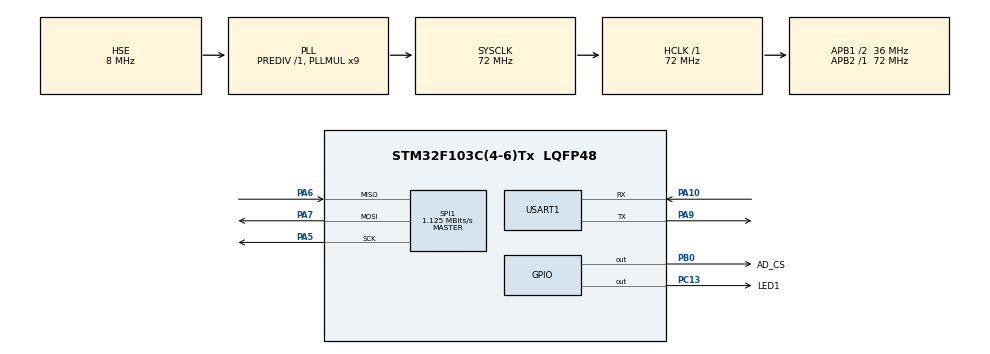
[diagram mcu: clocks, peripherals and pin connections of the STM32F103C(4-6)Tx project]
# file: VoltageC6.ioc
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Mcu.Family=STM32F1
Mcu.Name=STM32F103C(4-6)Tx
Mcu.Package=LQFP48
NVIC.PriorityGroup=NVIC_PRIORITYGROUP_4
NVIC.TIM1_UP_IRQn=true\:0\:0\:false\:false\:true\:true\:true
NVIC.TIM3_IRQn=true\:0\:0\:false\:false\:true\:false\:true
NVIC.TimeBase=TIM3_IRQn
NVIC.TimeBaseIP=TIM3
NVIC.USART1_IRQn=true\:0\:0\:false\:false\:true\:true\:true
PA10.Mode=Asynchronous
PA10.Signal=USART1_RX
PA13.Mode=Serial_Wire
PA13.Signal=SYS_JTMS-SWDIO
PA14.Mode=Serial_Wire
PA14.Signal=SYS_JTCK-SWCLK
PA5.Mode=Full_Duplex_Master
PA5.Signal=SPI1_SCK
PA6.Mode=Full_Duplex_Master
PA6.Signal=SPI1_MISO
PA7.Mode=Full_Duplex_Master
PA7.Signal=SPI1_MOSI
PA9.Mode=Asynchronous
PA9.Signal=USART1_TX
PB0.GPIO_Label=AD_CS
PB0.GPIO_PuPd=GPIO_PULLUP
PB0.Signal=GPIO_Output
PC13-TAMPER-RTC.GPIO_Label=LED1
PC13-TAMPER-RTC.GPIO_PuPd=GPIO_PULLUP
PC13-TAMPER-RTC.Signal=GPIO_Output
PC14-OSC32_IN.Mode=LSE-External-Oscillator
PC14-OSC32_IN.Signal=RCC_OSC32_IN
PC15-OSC32_OUT.Mode=LSE-External-Oscillator
PC15-OSC32_OUT.Signal=RCC_OSC32_OUT
PD0-OSC_IN.Mode=HSE-External-Oscillator
PD0-OSC_IN.Signal=RCC_OSC_IN
PD1-OSC_OUT.Mode=HSE-External-Oscillator
PD1-OSC_OUT.Signal=RCC_OSC_OUT
ProjectManager.HeapSize=0x200
ProjectManager.StackSize=0x400
ProjectManager.TargetToolchain=MDK-ARM V5.27
RCC.AHBFreq_Value=72000000
RCC.APB1CLKDivider=RCC_HCLK_DIV2
RCC.APB1Freq_Value=36000000
RCC.APB1TimFreq_Value=72000000
RCC.APB2Freq_Value=72000000
RCC.APB2TimFreq_Value=72000000
RCC.HCLKFreq_Value=72000000
RCC.PLLMUL=RCC_PLL_MUL9
RCC.PLLSourceVirtual=RCC_PLLSOURCE_HSE
RCC.SYSCLKFreq_VALUE=72000000
RCC.SYSCLKSource=RCC_SYSCLKSOURCE_PLLCLK
RCC.USBFreq_Value=72000000
SPI1.BaudRatePrescaler=SPI_BAUDRATEPRESCALER_64
SPI1.CLKPhase=SPI_PHASE_2EDGE
SPI1.CLKPolarity=SPI_POLARITY_HIGH
SPI1.CalculateBaudRate=1.125 MBits/s
SPI1.Direction=SPI_DIRECTION_2LINES
SPI1.Mode=SPI_MODE_MASTER
SPI1.VirtualType=VM_MASTER
USART1.VirtualMode=VM_ASYNC
VP_SYS_VS_tim3.Mode=TIM3
VP_TIM1_VS_ClockSourceINT.Mode=Internal
board=custom

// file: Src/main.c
/* USER CODE BEGIN Header */
/**
  ******************************************************************************
  * @file           : main.c
  * @brief          : Main program body
  ******************************************************************************
  * @attention
  *
  * <h2><center>&copy; Copyright (c) 2024 STMicroelectronics.
  * All rights reserved.</center></h2>
  *
  * This software component is licensed by ST under BSD 3-Clause license,
  * the "License"; You may not use this file except in compliance with the
  * License. You may obtain a copy of the License at:
  *                        opensource.org/licenses/BSD-3-Clause
  *
  ******************************************************************************
  */
  /* USER CODE END Header */
  /* Includes ------------------------------------------------------------------*/
#include "main.h"
#include "spi.h"
#include "tim.h"
#include "usart.h"
#include "gpio.h"

/* USER CODE BEGIN Includes */
#include "stdio.h"
#include "My_AD7172.h"
#include "ad717x_Frame.h"
/* USER CODE END Includes */

/* USER CODE BEGIN PD */
#define USE_CALIB 1 //TODO 1:使用校准 2:使用软件校准 0:不使用校准
/* USER CODE END PD */

/* USER CODE BEGIN PV */
extern AD7172_Struct gAd7172;
/* USER CODE END PV */

void SystemClock_Config(void);

/* USER CODE BEGIN 0 */
/// @brief 重定向printf函数
int fputc(int ch, FILE* f) {
  uint8_t temp[1] = { ch };
  HAL_UART_Transmit(&huart1, temp, 1, 0xffff);
  return ch;
}
/// @brief 重定向scanf函数
/// @param f
/// @return
int fgetc(FILE* f)
{
  uint8_t ch = 0;
  HAL_UART_Receive(&huart1, &ch, 1, 0xffff);
  return ch;
}
/// @brief 实现输出二进�?
/// @param num 待转换的�?
void print_binary(int num) {
  //将num转换为二进制通过pritnf输出，以循环实现
  while (num != 0) {
    printf("%d", num % 2);
    num /= 2;
  }
}
/* USER CODE END 0 */

int main(void)
{

  /* MCU Configuration--------------------------------------------------------*/

  /* Reset of all peripherals, Initializes the Flash interface and the Systick. */
  HAL_Init();

  /* Configure the system clock */
  SystemClock_Config();

  /* Initialize all configured peripherals */
  MX_GPIO_Init();
  MX_SPI1_Init();
  MX_TIM1_Init();
  MX_USART1_UART_Init();
  /* USER CODE BEGIN 2 */
  HAL_GPIO_WritePin(LED1_GPIO_Port, LED1_Pin, LED_OFF);
  AD7172ParmInit();
  /* USER CODE END 2 */

  /* Infinite loop */
  /* USER CODE BEGIN WHILE */
#if USE_CALIB == 1  //必须在调试模式下分步运行
  //经过测试发现系统增益校准是必须的，其他增益可选
  HAL_Delay(2);
  AD7172_Calib(SYS_OFFSET_CALIB);
  HAL_Delay(2);
  AD7172_Calib(SYS_GAIN_CALIB);
  HAL_Delay(2);
#elif USE_CALIB == 2
  //软件校准 本质上是靠完成一次ADC值的读取，然后根据读取的值进行校准
  AD7172_SoftCalib(OFFSET_CALIB);
  HAL_Delay(2);
  AD7172_SoftCalib(GAIN_CALIB);
  HAL_Delay(2);
#else
  printf("no calib\n");
#endif
  AD7172_DebugFunction();
  ad717x_set_data_state(&gAd7172, true);
  while (1)
  {
    /* USER CODE END WHILE */

    /* USER CODE BEGIN 3 */
#if USE_CALIB == 2
    ADA7172_SOFT_Loop();
#else
    AD7172Loop();
#endif
    HAL_Delay(300);
  }
  /* USER CODE END 3 */
}

void SystemClock_Config(void)
{
  RCC_OscInitTypeDef RCC_OscInitStruct = { 0 };
  RCC_ClkInitTypeDef RCC_ClkInitStruct = { 0 };

  /** Initializes the RCC Oscillators according to the specified parameters
  * in the RCC_OscInitTypeDef structure.
  */
  RCC_OscInitStruct.OscillatorType = RCC_OSCILLATORTYPE_HSE;
  RCC_OscInitStruct.HSEState = RCC_HSE_ON;
  RCC_OscInitStruct.HSEPredivValue = RCC_HSE_PREDIV_DIV1;
  RCC_OscInitStruct.HSIState = RCC_HSI_ON;
  RCC_OscInitStruct.PLL.PLLState = RCC_PLL_ON;
  RCC_OscInitStruct.PLL.PLLSource = RCC_PLLSOURCE_HSE;
  RCC_OscInitStruct.PLL.PLLMUL = RCC_PLL_MUL9;
  if (HAL_RCC_OscConfig(&RCC_OscInitStruct) != HAL_OK)
  {
    Error_Handler();
  }
  /** Initializes the CPU, AHB and APB buses clocks
  */
  RCC_ClkInitStruct.ClockType = RCC_CLOCKTYPE_HCLK | RCC_CLOCKTYPE_SYSCLK
    | RCC_CLOCKTYPE_PCLK1 | RCC_CLOCKTYPE_PCLK2;
  RCC_ClkInitStruct.SYSCLKSource = RCC_SYSCLKSOURCE_PLLCLK;
  RCC_ClkInitStruct.AHBCLKDivider = RCC_SYSCLK_DIV1;
  RCC_ClkInitStruct.APB1CLKDivider = RCC_HCLK_DIV2;
  RCC_ClkInitStruct.APB2CLKDivider = RCC_HCLK_DIV1;

  if (HAL_RCC_ClockConfig(&RCC_ClkInitStruct, FLASH_LATENCY_2) != HAL_OK)
  {
    Error_Handler();
  }
}

 /**
  * @brief  Period elapsed callback in non blocking mode
  * @note   This function is called  when TIM3 interrupt took place, inside
  * HAL_TIM_IRQHandler(). It makes a direct call to HAL_IncTick() to increment
  * a global variable "uwTick" used as application time base.
  * @param  htim : TIM handle
  * @retval None
  */
void HAL_TIM_PeriodElapsedCallback(TIM_HandleTypeDef* htim)
{
  if (htim->Instance == TIM3) {
    HAL_IncTick();
  }
}

void Error_Handler(void)
{
  __disable_irq();
  while (1)
  {
  }
}

/************************ (C) COPYRIGHT STMicroelectronics *****END OF FILE****/
